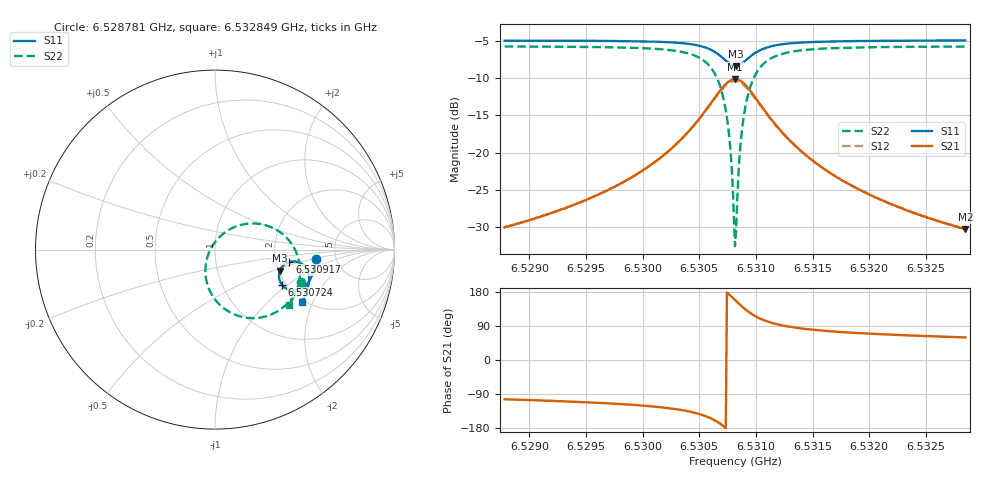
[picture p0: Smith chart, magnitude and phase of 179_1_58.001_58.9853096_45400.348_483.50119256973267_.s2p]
#  HZ  S  RI  R  50.00
! Rohde & Schwarz Vector Network Analyzer
! Rohde-Schwarz,ZNB20-2Port,1311601062101988,3.16
! Created: UTC 3/21/2024, 12:58:15 AM
! freq[Hz]  re:S11  im:S11  re:S21  im:S21  re:S12  im:S12  re:S22  im:S22
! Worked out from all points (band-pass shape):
!   401 points, 6.528781 GHz to 6.532849 GHz, reference 50 ohm
!   highest |S21| = -10.16 dB at 6.530815 GHz (marker M1); lowest = -30.3 dB at 6.532849 GHz (marker M2)
!   |S21| within 3 dB of the highest: 6.530612 GHz to 6.53102 GHz (407.2 kHz wide, 0.00624 % of centre)
!   lowest |S11| = -8.4 dB at 6.530825 GHz (marker M3), VSWR 2.23, Z = 102 - j27.7 ohm
!   |S11| at or under -10 dB: nowhere
!   |S22| runs from -32.6 to -5.8 dB; largest |S21 - S12| = 0.013
!   S11 on the Smith chart (normalised r, x): 6.528781 GHz: 3.49, -0.52; 6.530724 GHz: 1.91, -0.90; 6.530917 GHz: 2.37, -0.40; 6.532849 GHz: 1.93, -1.66
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6.5287812e9  0.5604 -0.0509  -0.00738 -0.0306  -0.00808 -0.0305  0.4815 -0.1807
6.5294626e9  0.5512 -0.1081  -0.0169 -0.0438  -0.0179 -0.0432  0.4494 -0.2436
6.5301439e9  0.5241 -0.177  -0.0509 -0.0748  -0.0532 -0.0735  0.366 -0.3325
6.5303778e9  0.4974 -0.2074  -0.0911 -0.0947  -0.094 -0.0915  0.2837 -0.3716
6.5305507e9  0.4535 -0.2274  -0.1601 -0.1014  -0.1626 -0.0946  0.1563 -0.3761
6.5306524e9  0.4081 -0.2227  -0.2304 -0.0747  -0.2298 -0.0648  0.0383 -0.318
6.5307236e9  0.3726 -0.1953  -0.2825 -0.0156  -0.2766 -0.00515  -0.0378 -0.2082
6.5307643e9  0.3588 -0.1672  -0.2985 0.038  -0.2895 0.0464  -0.0538 -0.1162
6.5307744e9  0.3571 -0.1591  -0.2996 0.0531  -0.2898 0.0607  -0.0525 -0.0914
6.5308049e9  0.3572 -0.1334  -0.2938 0.0991  -0.2827 0.1041  -0.0339 -0.0172
6.5308151e9  0.3592 -0.1249  -0.2889 0.1141  -0.2775 0.1179  -0.0227 0.00649
6.5308253e9  0.3619 -0.1166  -0.2824 0.1287  -0.271 0.1314  -0.0092 0.0288
6.5308354e9  0.3657 -0.1087  -0.2744 0.1424  -0.2634 0.144  0.00613 0.0495
6.5308659e9  0.3809 -0.0885  -0.2443 0.1771  -0.2342 0.1763  0.0623 0.1006
6.5308863e9  0.3937 -0.0784  -0.2206 0.194  -0.2116 0.192  0.1045 0.1239
6.5309168e9  0.4142 -0.0689  -0.1834 0.2097  -0.1763 0.2067  0.1689 0.1428
6.530988e9  0.4578 -0.0681  -0.1071 0.2122  -0.1034 0.2089  0.297 0.1311
6.5310897e9  0.4961 -0.0898  -0.0412 0.1809  -0.0396 0.1791  0.4028 0.062
6.5312422e9  0.5187 -0.1259  -0.00154 0.1337  -0.000336 0.1331  0.4603 -0.0346
6.5314965e9  0.5247 -0.1694  0.0156 0.0874  0.0165 0.0872  0.4744 -0.1329
6.5321778e9  0.5078 -0.2408  0.0176 0.042  0.0185 0.0418  0.445 -0.2495
6.532849e9  0.4832 -0.2922  0.0155 0.0263  0.0162 0.0261  0.41 -0.3093
